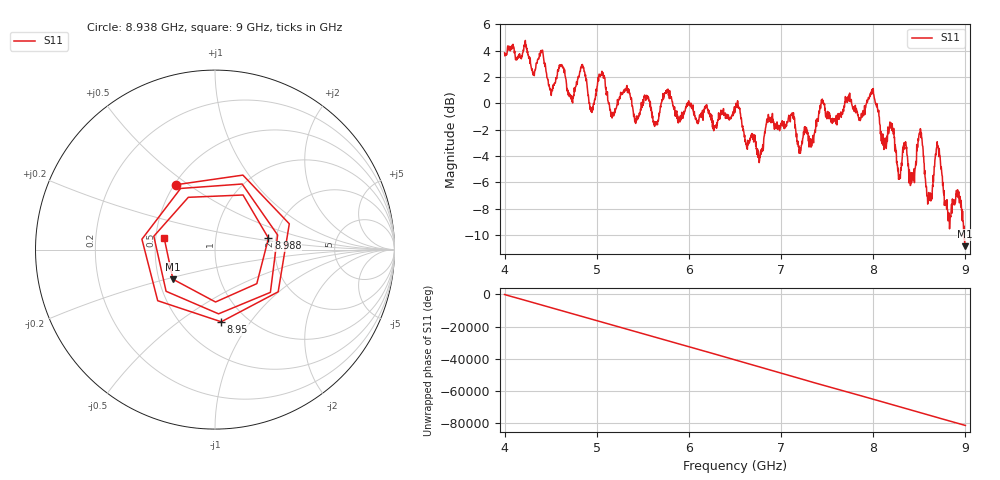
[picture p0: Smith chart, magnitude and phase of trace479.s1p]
! Created with skrf 1.8.0 (http://scikit-rf.org).
# Hz S RI R 50.0
!freq ReS11 ImS11
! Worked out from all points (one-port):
!   1601 points, 4 GHz to 9 GHz, reference 50 ohm
!   lowest |S11| = -10.8 dB at 8.997 GHz (marker M1), VSWR 1.80, Z = 29.6 - j10.6 ohm
!   |S11| at or under -10 dB: 8.986707 GHz to end of sweep
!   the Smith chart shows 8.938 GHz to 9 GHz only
!   S11 on the Smith chart (normalised r, x): 8.938 GHz: 0.51, +0.45; 8.95 GHz: 0.77, -0.74; 8.988 GHz: 1.83, +0.26; 9 GHz: 0.55, +0.08
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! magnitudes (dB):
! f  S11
! 4 GHz  3.8
! 4.5 GHz  1.1
! 4.625 GHz  2.8
! 4.722 GHz  0.3
! 4.841 GHz  2.7
! 4.941 GHz  -0.5
! 5.047 GHz  2.1
! 5.166 GHz  -1.1
! 5.25 GHz  0.3
! 5.875 GHz  -0.9
! 6.5 GHz  -0.4
! 6.762 GHz  -4.5
! 7.125 GHz  -0.8
! 7.206 GHz  -3.4
! 7.75 GHz  0.1
! 7.994 GHz  1.1
! 8.278 GHz  -5.6
! 8.375 GHz  -4.5
! 8.428 GHz  -5.6
! 8.512 GHz  -1.9
! 8.606 GHz  -7.3
! 8.7 GHz  -3.3
! 8.812 GHz  -8.9
! 8.938 GHz  -7.5
! 8.95 GHz  -7.9
! 8.988 GHz  -10.3
! 8.997 GHz  -10.8
! 9 GHz  -10.7
